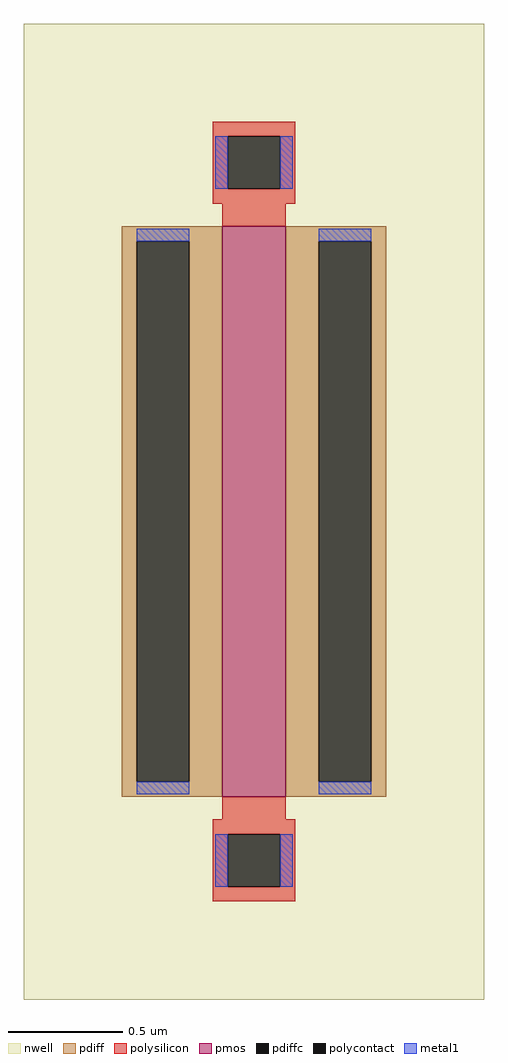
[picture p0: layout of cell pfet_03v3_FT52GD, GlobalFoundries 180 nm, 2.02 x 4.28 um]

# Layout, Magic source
magic
tech gf180mcuD
magscale 1 10
<< nwell >>
rect -202 -428 202 428
<< pmos >>
rect -28 -250 28 250
<< pdiff >>
rect -116 237 -28 250
rect -116 -237 -103 237
rect -57 -237 -28 237
rect -116 -250 -28 -237
rect 28 237 116 250
rect 28 -237 57 237
rect 103 -237 116 237
rect 28 -250 116 -237
<< pdiffc >>
rect -103 -237 -57 237
rect 57 -237 103 237
<< polysilicon >>
rect -36 329 36 342
rect -36 283 -23 329
rect 23 283 36 329
rect -36 270 36 283
rect -28 250 28 270
rect -28 -270 28 -250
rect -36 -283 36 -270
rect -36 -329 -23 -283
rect 23 -329 36 -283
rect -36 -342 36 -329
<< polycontact >>
rect -23 283 23 329
rect -23 -329 23 -283
<< metal1 >>
rect -34 283 -23 329
rect 23 283 34 329
rect -103 237 -57 248
rect -103 -248 -57 -237
rect 57 237 103 248
rect 57 -248 103 -237
rect -34 -329 -23 -283
rect 23 -329 34 -283
<< properties >>
string gencell pfet_03v3
string library gf180mcu
string parameters w 2.5 l 0.28 m 1 nf 1 diffcov 100 polycov 100 guard 0 glc 0 grc 0 gtc 0 gbc 0 tbcov 100 rlcov 100 topc 1 botc 1 poverlap 0 doverlap 1 lmin 0.28 wmin 0.22 class mosfet full_metal 0 compatible {pfet_03v3 pfet_05v0 pfet_06v0}
<< end >>
